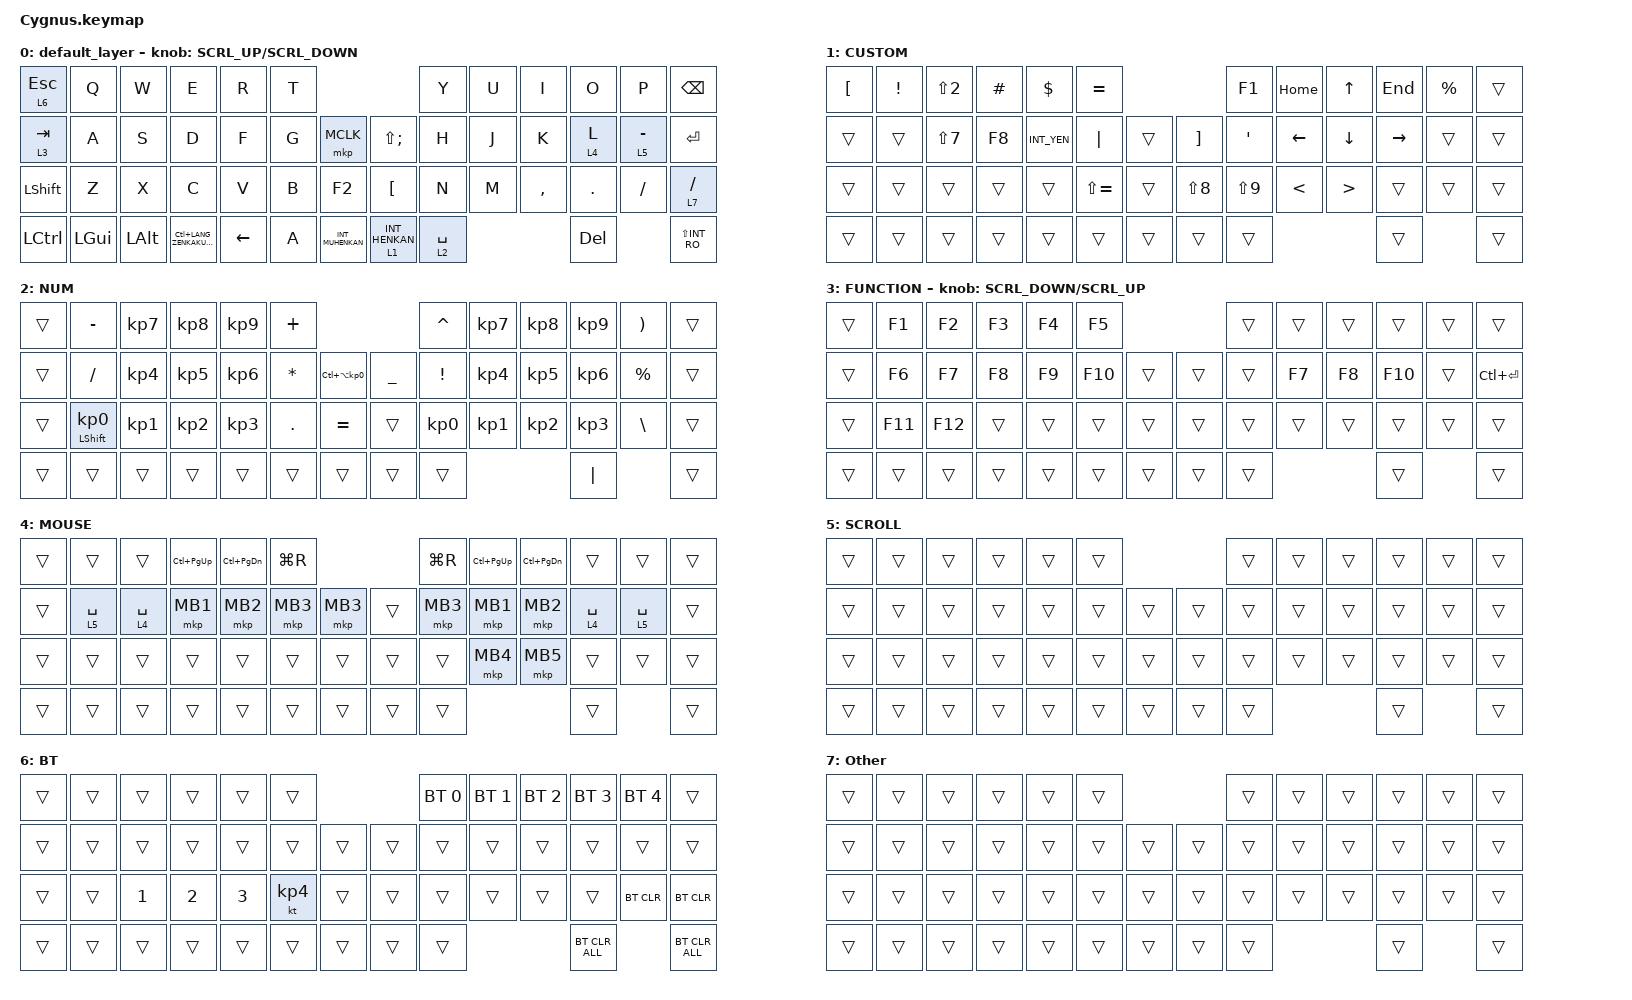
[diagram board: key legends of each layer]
#define ZMK_POINTING_DEFAULT_SCRL_VAL 120    // default: 10

#include <behaviors.dtsi>
#include <dt-bindings/zmk/bt.h>
#include <dt-bindings/zmk/keys.h>
#include <dt-bindings/zmk/pointing.h>

#define MOUSE 4
#define SCROLL 5
#define NUM 6

&mt {
    flavor = "balanced";
    quick-tap-ms = <0>;
};

/ {
    combos {
        compatible = "zmk,combos";

        double_quotation {
            bindings = <&kp DOUBLE_QUOTES>;
            key-positions = <20 21>;
        };
    };

    macros {
        to_layer_0: to_layer_0 {
            compatible = "zmk,behavior-macro-one-param";
            #binding-cells = <1>;
            bindings = <&to 0 &macro_param_1to1 &kp MACRO_PLACEHOLDER>;
            label = "TO_LAYER_0";
        };
    };

    behaviors {
        lt_to_layer_0: lt_to_layer_0 {
            compatible = "zmk,behavior-hold-tap";
            label = "LAYER_TAP_TO_0";
            bindings = <&mo>, <&to_layer_0>;

            #binding-cells = <2>;
            tapping-term-ms = <200>;
        };

        ROTATE: ROTATE {
            compatible = "zmk,behavior-sensor-rotate-var";
            label = "ROTATE";
            #sensor-binding-cells = <2>;
            bindings = <&msc>, <&msc>;

            tap-ms = <20>;
        };

        td_space: td_space {
            compatible = "zmk,behavior-tap-dance";
            label = "TD_SPACE";
            #binding-cells = <0>;
            tapping-term-ms = <200>;

            bindings = <&lt 4 SPACE>, <&kp F2>;
        };
    };

    keymap {
        compatible = "zmk,keymap";

        default_layer {
            bindings = <
&lt 6 ESC  &kp Q     &kp W     &kp E                        &kp R           &kp T                                              &kp Y        &kp U  &kp I      &kp O    &kp P        &kp BSPC
&lt 3 TAB  &kp A     &kp S     &kp D                        &kp F           &kp G        &mkp MCLK           &kp LS(SEMI)      &kp H        &kp J  &kp K      &lt 4 L  &lt 5 MINUS  &kp ENTER
&kp LSHFT  &kp Z     &kp X     &kp C                        &kp V           &kp B        &kp F2              &kp LEFT_BRACKET  &kp N        &kp M  &kp COMMA  &kp DOT  &kp FSLH     &lt 7 SLASH
&kp LCTRL  &kp LGUI  &kp LALT  &kp LC(LANG_ZENKAKUHANKAKU)  &kp LEFT_ARROW  &kp A  &kp INT_MUHENKAN    &lt 1 INT_HENKAN  &lt 2 SPACE                             &kp DEL      &kp LS(INT_RO)
            >;

            sensor-bindings = <&ROTATE SCRL_UP SCRL_DOWN>;
        };

        CUSTOM {
            bindings = <
&kp LEFT_BRACKET  &kp EXCLAMATION  &kp LS(NUMBER_2)  &kp HASH  &kp DOLLAR   &kp EQUAL                                   &kp F1            &kp HOME        &kp UP_ARROW      &kp END          &kp PERCENT  &trans
&trans            &trans           &kp LS(NUMBER_7)  &kp F8    &kp INT_YEN  &kp PIPE       &trans    &kp RIGHT_BRACKET  &kp SINGLE_QUOTE  &kp LEFT_ARROW  &kp DOWN_ARROW    &kp RIGHT_ARROW  &trans       &trans
&trans            &trans           &trans            &trans    &trans       &kp LS(EQUAL)  &trans    &kp LS(NUMBER_8)   &kp LS(NUMBER_9)  &kp LESS_THAN   &kp GREATER_THAN  &trans           &trans       &trans
&trans            &trans           &trans            &trans    &trans       &trans         &trans    &trans             &trans                                                               &trans       &trans
            >;
        };

        NUM {
            bindings = <
&trans  &kp MINUS                   &kp KP_NUMBER_7  &kp KP_NUMBER_8  &kp KP_NUMBER_9  &kp PLUS                                                 &kp CARET        &kp KP_NUMBER_7  &kp KP_NUMBER_8  &kp KP_NUMBER_9  &kp RIGHT_PARENTHESIS  &trans
&trans  &kp SLASH                   &kp KP_NUMBER_4  &kp KP_NUMBER_5  &kp KP_NUMBER_6  &kp ASTERISK  &kp LC(LA(KP_NUMBER_0))    &kp UNDERSCORE  &kp EXCLAMATION  &kp KP_NUMBER_4  &kp KP_NUMBER_5  &kp KP_NUMBER_6  &kp PERCENT            &trans
&trans  &mt LEFT_SHIFT KP_NUMBER_0  &kp KP_NUMBER_1  &kp KP_NUMBER_2  &kp KP_NUMBER_3  &kp PERIOD    &kp EQUAL                  &trans          &kp KP_NUMBER_0  &kp KP_NUMBER_1  &kp KP_NUMBER_2  &kp KP_N3        &kp BACKSLASH          &trans
&trans  &trans                      &trans           &trans           &trans           &trans        &trans                     &trans          &trans                                                              &kp PIPE               &trans
            >;
        };

        FUNCTION {
            bindings = <
&trans  &kp F1   &kp F2   &kp F3  &kp F4  &kp F5                     &trans  &trans  &trans  &trans   &trans  &trans
&trans  &kp F6   &kp F7   &kp F8  &kp F9  &kp F10  &trans    &trans  &trans  &kp F7  &kp F8  &kp F10  &trans  &kp LC(ENTER)
&trans  &kp F11  &kp F12  &trans  &trans  &trans   &trans    &trans  &trans  &trans  &trans  &trans   &trans  &trans
&trans  &trans   &trans   &trans  &trans  &trans   &trans    &trans  &trans                           &trans  &trans
            >;

            sensor-bindings = <&ROTATE SCRL_DOWN SCRL_UP>;
        };

        MOUSE {
            bindings = <
&trans  &trans       &trans       &kp LC(PAGE_UP)  &kp LC(PAGE_DOWN)  &kp LG(R)                      &kp LG(R)  &kp LC(PAGE_UP)  &kp LC(PAGE_DOWN)  &trans       &trans       &trans
&trans  &lt 5 SPACE  &lt 4 SPACE  &mkp MB1         &mkp MB2           &mkp MB3   &mkp MB3    &trans  &mkp MB3   &mkp MB1         &mkp MB2           &lt 4 SPACE  &lt 5 SPACE  &trans
&trans  &trans       &trans       &trans           &trans             &trans     &trans      &trans  &trans     &mkp MB4         &mkp MB5           &trans       &trans       &trans
&trans  &trans       &trans       &trans           &trans             &trans     &trans      &trans  &trans                                                      &trans       &trans
            >;
        };

        SCROLL {
            bindings = <
&trans  &trans  &trans  &trans  &trans  &trans                    &trans  &trans  &trans  &trans  &trans  &trans
&trans  &trans  &trans  &trans  &trans  &trans  &trans    &trans  &trans  &trans  &trans  &trans  &trans  &trans
&trans  &trans  &trans  &trans  &trans  &trans  &trans    &trans  &trans  &trans  &trans  &trans  &trans  &trans
&trans  &trans  &trans  &trans  &trans  &trans  &trans    &trans  &trans                          &trans  &trans
            >;
        };

        BT {
            bindings = <
&trans  &trans  &trans        &trans        &trans        &trans                       &bt BT_SEL 0  &bt BT_SEL 1  &bt BT_SEL 2  &bt BT_SEL 3  &bt BT_SEL 4    &trans
&trans  &trans  &trans        &trans        &trans        &trans     &trans    &trans  &trans        &trans        &trans        &trans        &trans          &trans
&trans  &trans  &kp NUMBER_1  &kp NUMBER_2  &kp NUMBER_3  &kt KP_N4  &trans    &trans  &trans        &trans        &trans        &trans        &bt BT_CLR      &bt BT_CLR
&trans  &trans  &trans        &trans        &trans        &trans     &trans    &trans  &trans                                                  &bt BT_CLR_ALL  &bt BT_CLR_ALL
            >;
        };

        Other {
            bindings = <
&trans  &trans  &trans  &trans  &trans  &trans                    &trans  &trans  &trans  &trans  &trans  &trans
&trans  &trans  &trans  &trans  &trans  &trans  &trans    &trans  &trans  &trans  &trans  &trans  &trans  &trans
&trans  &trans  &trans  &trans  &trans  &trans  &trans    &trans  &trans  &trans  &trans  &trans  &trans  &trans
&trans  &trans  &trans  &trans  &trans  &trans  &trans    &trans  &trans                          &trans  &trans
            >;
        };
    };
};
